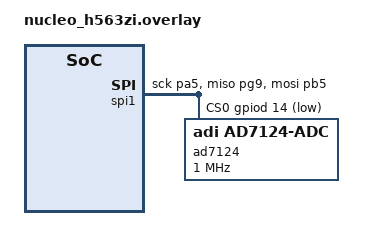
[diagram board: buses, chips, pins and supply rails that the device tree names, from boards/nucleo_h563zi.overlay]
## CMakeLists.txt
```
cmake_minimum_required(VERSION 3.20.0)

find_package(Zephyr REQUIRED HINTS $ENV{ZEPHYR_BASE})

project(internal_temp LANGUAGES C)

target_sources(app PRIVATE src/main.c)
```

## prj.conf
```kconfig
CONFIG_LOG=y
CONFIG_CBPRINTF_FP_SUPPORT=y
CONFIG_SPI=y
CONFIG_GPIO=y

CONFIG_COO_CONFIG_LIB=y
CONFIG_COO_SENSORS_LIB=y
CONFIG_COO_ADC_TEMP_SENSOR=y
```

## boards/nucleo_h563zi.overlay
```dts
/* AD7124 on SPI1; the custom driver does raw register I/O and only needs the
 * node's SPI spec, so the channel binding here is nominal. */
#include <zephyr/dt-bindings/adc/ad7124-adc.h>

&spi1 {
    status = "okay";
    pinctrl-0 = <&spi1_sck_pa5 &spi1_miso_pg9 &spi1_mosi_pb5>;
    pinctrl-names = "default";
    cs-gpios = <&gpiod 14 GPIO_ACTIVE_LOW>;

    ad7124: ad7124@0 {
        compatible = "adi,ad7124-adc";
        reg = <0>;
        spi-max-frequency = <1000000>;
        active-device = <1>;
        #address-cells = <1>;
        #size-cells = <0>;
        #io-channel-cells = <1>;

        channel@0 {
            reg = <0>;
            zephyr,gain = "ADC_GAIN_1";
            zephyr,reference = "ADC_REF_INTERNAL";
            zephyr,acquisition-time = <ADC_ACQ_TIME_DEFAULT>;
            zephyr,resolution = <24>;
            zephyr,input-positive = <AD7124_ADC_AIN0>;
            zephyr,input-negative = <AD7124_ADC_AIN1>;
        };
    };
};
```

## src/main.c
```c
/* Read the AD7124 on-die temperature sensor -- no external sensor wiring. */

#include <zephyr/kernel.h>
#include <zephyr/logging/log.h>
#include <stdio.h>

#include <config.h>
#include <adc_temp_sensor.h>

LOG_MODULE_REGISTER(internal_temp, LOG_LEVEL_INF);

int main(void)
{
	thermal_config_t *config = config_load_defaults();
	if (config == NULL) {
		LOG_ERR("config_load_defaults failed");
		return 0;
	}

	int ret = adc_temp_sensor_init(config);
	if (ret != 0) {
		LOG_ERR("adc_temp_sensor_init failed: %d", ret);
		return 0;
	}

	while (1) {
		float kelvin = 0.0f;

		ret = adc_temp_sensor_read("sensor-1", &kelvin);
		if (ret == 0) {
			printf("internal die temp: %.2f C\n", (double)(kelvin - 273.15f));
		} else {
			printf("read failed: %d\n", ret);
		}
		k_sleep(K_MSEC(1000));
	}
	return 0;
}
```
